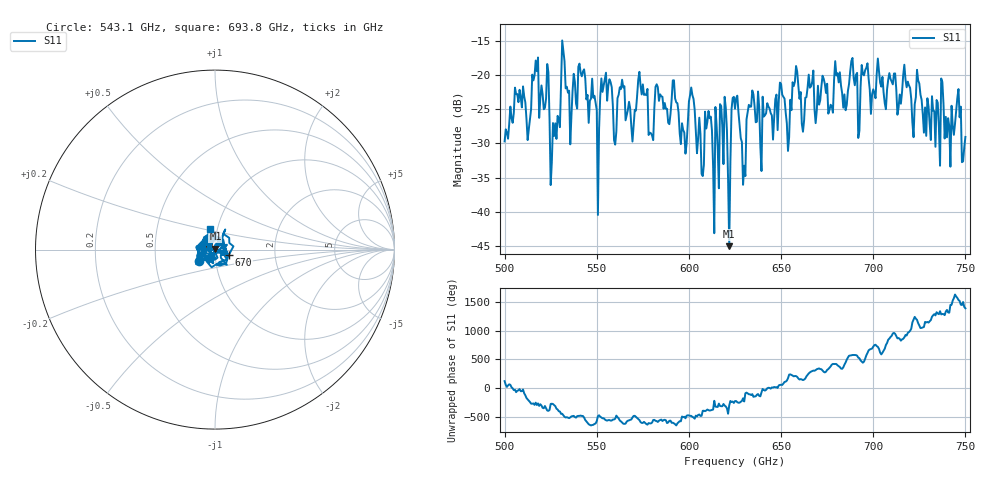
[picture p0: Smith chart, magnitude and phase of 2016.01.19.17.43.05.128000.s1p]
!Created with skrf (http://scikit-rf.org).
# GHz S RI R 50.0
!freq ReS11 ImS11
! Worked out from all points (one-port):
!   401 points, 500 GHz to 750 GHz, reference 50 ohm
!   lowest |S11| = -45.0 dB at 621.9 GHz (marker M1), VSWR 1.01, Z = 50.2 + j0.521 ohm
!   |S11| at or under -10 dB: start of sweep to end of sweep
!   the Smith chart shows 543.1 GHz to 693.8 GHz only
!   S11 on the Smith chart (normalised r, x): 543.1 GHz: 0.83, -0.11; 670 GHz: 1.17, -0.07; 693.8 GHz: 0.92, +0.22
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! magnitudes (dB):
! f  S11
! 500 GHz  -29.7
! 506.9 GHz  -22.8
! 513.1 GHz  -28.0
! 516.9 GHz  -17.9
! 526.2 GHz  -27.0
! 531.2 GHz  -15.0
! 543.1 GHz  -19.2
! 550 GHz  -25.2
! 553.8 GHz  -21.6
! 560 GHz  -30.2
! 562.5 GHz  -21.8
! 570 GHz  -27.4
! 573.8 GHz  -21.6
! 579.4 GHz  -28.5
! 583.1 GHz  -21.8
! 593.8 GHz  -24.2
! 615 GHz  -27.3
! 618.8 GHz  -33.0
! 621.9 GHz  -45.0
! 625 GHz  -25.0
! 629.4 GHz  -36.1
! 633.8 GHz  -24.6
! 656.2 GHz  -21.1
! 670 GHz  -21.6
! 687.5 GHz  -19.5
! 693.8 GHz  -18.6
! 718.8 GHz  -21.0
! 750 GHz  -29.1
